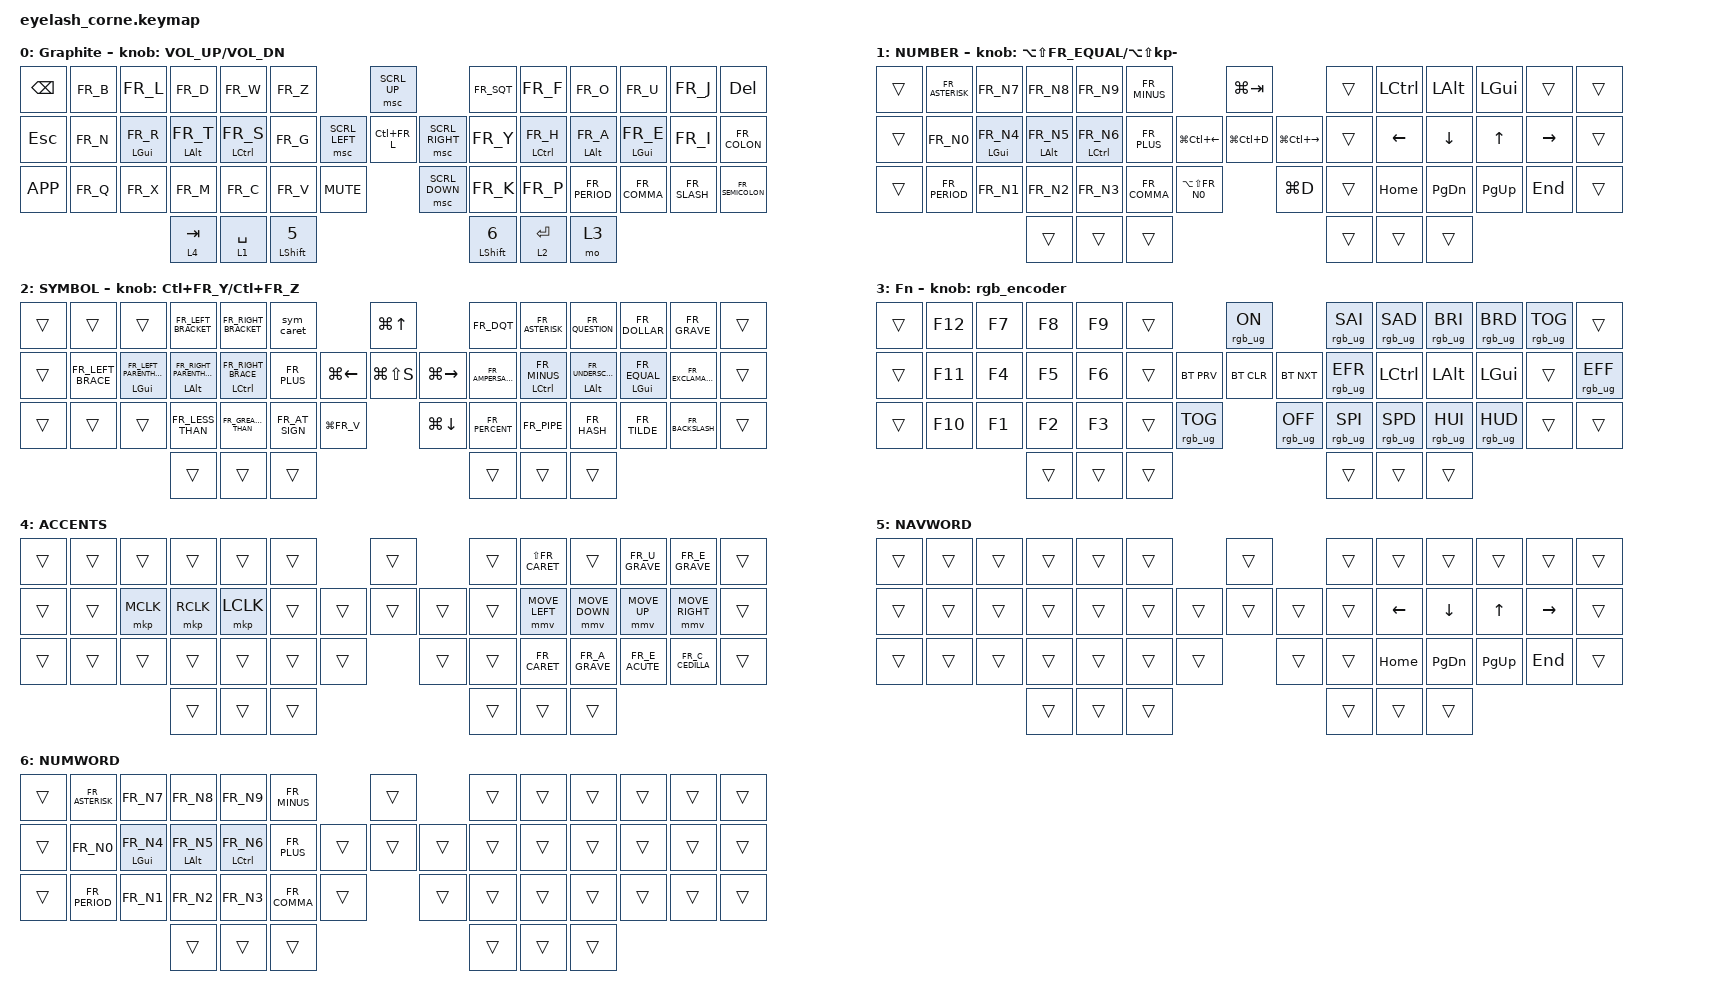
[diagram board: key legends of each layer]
#define ZMK_POINTING_DEFAULT_MOVE_VAL 1200  // 600
#define ZMK_POINTING_DEFAULT_SCRL_VAL 160   // force des touches de scroll du milieu (10 d'origine)

#include <input/processors.dtsi>
#include <zephyr/dt-bindings/input/input-event-codes.h>
#include <behaviors.dtsi>
#include <dt-bindings/zmk/bt.h>
#include <dt-bindings/zmk/keys.h>
#include <dt-bindings/zmk/pointing.h>
#include <dt-bindings/zmk/rgb.h>

#include <locale/keys_fr.h>

&msc {
    acceleration-exponent = <0>;      // 0 = vitesse constante, scroll franc dès le départ
    time-to-max-speed-ms = <40>;        // ignoré quand exponent = 0
    delay-ms = <0>;                   // 0
};

&mmv {
    time-to-max-speed-ms = <500>;
    acceleration-exponent = <1>;
    trigger-period-ms = <16>;
};


&lt {
    tapping-term-ms = <250>;
    flavor = "balanced";
};

/ {
    behaviors {
        // "Word layers" (module urob/zmk-auto-layer) : le layer reste actif
        // tant qu'on tape des touches de la continue-list, puis se coupe
        // tout seul. Un re-tap le coupe aussi manuellement.
        // num_word pointe sur le layer NUMWORD : pavé de chiffres complet
        // (avec * - + . ,) sur la main gauche, tout le reste transparent ->
        // une touche main droite tape son caractère de base ET coupe le word.
        num_word: num_word {
            compatible = "zmk,behavior-auto-layer";
            display-name = "Num Word";
            #binding-cells = <1>;
            continue-list = <FR_N0 FR_N1 FR_N2 FR_N3 FR_N4 FR_N5 FR_N6 FR_N7 FR_N8 FR_N9
                             FR_PERIOD FR_COMMA FR_PLUS FR_MINUS FR_ASTERISK
                             BACKSPACE DELETE>;
            ignore-modifiers;
        };

        // nav_word pointe sur le layer NAVWORD (quasi transparent) : toute
        // touche hors flèches/nav passe sur la couche de base ET coupe le
        // word en même temps -> pas de tap Shift pour sortir, ESC ou une
        // lettre suffit (important en mode normal IdeaVim où les flèches
        // sont bloquées).
        nav_word: nav_word {
            compatible = "zmk,behavior-auto-layer";
            display-name = "Nav Word";
            #binding-cells = <1>;
            continue-list = <LEFT DOWN UP RIGHT HOME END PG_UP PAGE_DOWN>;
            ignore-modifiers;
        };

        // Smart shifts : maintien = Shift, tap = word layer. Activation
        // croisée : pouce droit -> chiffres (main gauche), pouce gauche ->
        // flèches (main droite), pour activer d'une main et taper de l'autre.
        shift_num: shift_num {
            compatible = "zmk,behavior-hold-tap";
            display-name = "Shift / Num Word";
            #binding-cells = <2>;
            flavor = "balanced";
            tapping-term-ms = <250>;
            quick-tap-ms = <175>;
            bindings = <&kp>, <&num_word>;
        };

        shift_nav: shift_nav {
            compatible = "zmk,behavior-hold-tap";
            display-name = "Shift / Nav Word";
            #binding-cells = <2>;
            flavor = "balanced";
            tapping-term-ms = <250>;
            quick-tap-ms = <175>;
            bindings = <&kp>, <&nav_word>;
        };

        // Pouce Entrée -> SYMBOL en hold-preferred : toute touche pressée
        // pendant que le pouce est enfoncé passe sur SYMBOL, même si le pouce
        // est relâché en premier (roll rapide pour "?" au lieu de Entrée + o).
        lt_enter: lt_enter {
            compatible = "zmk,behavior-hold-tap";
            display-name = "Symbol / Enter";
            #binding-cells = <2>;
            flavor = "hold-preferred";
            tapping-term-ms = <250>;
            quick-tap-ms = <175>;
            bindings = <&mo>, <&kp>;
        };

        // Positional home-row mods: the modifier only fires when a key on the
        // OPPOSITE hand (or a thumb) is pressed, killing same-hand misfires.
        hml: home_row_mod_left {
            compatible = "zmk,behavior-hold-tap";
            display-name = "Home Row Mod Left";
            #binding-cells = <2>;
            flavor = "balanced";
            tapping-term-ms = <250>;
            quick-tap-ms = <175>;
            require-prior-idle-ms = <200>;
            bindings = <&kp>, <&kp>;
            hold-trigger-key-positions = <7 8 9 10 11 12 22 23 24 25 26 27 36 37 38 39 40 41 45 46 47>;
            hold-trigger-on-release;
        };

        // Variante de hml pour le Ctrl sur S (index gauche) : C et V sont
        // tapés par le même doigt, donc un chevauchement S+C/V est forcément
        // volontaire -> Ctrl+C / Ctrl+V sans attendre le tapping-term.
        hml_ctrl: home_row_mod_left_ctrl {
            compatible = "zmk,behavior-hold-tap";
            display-name = "Home Row Mod Left Ctrl";
            #binding-cells = <2>;
            flavor = "balanced";
            tapping-term-ms = <250>;
            quick-tap-ms = <175>;
            require-prior-idle-ms = <200>;
            bindings = <&kp>, <&kp>;
            hold-trigger-key-positions = <7 8 9 10 11 12 22 23 24 25 26 27 32 33 36 37 38 39 40 41 45 46 47>;
            hold-trigger-on-release;
        };

        hmr: home_row_mod_right {
            compatible = "zmk,behavior-hold-tap";
            display-name = "Home Row Mod Right";
            #binding-cells = <2>;
            flavor = "balanced";
            tapping-term-ms = <250>;
            quick-tap-ms = <175>;
            require-prior-idle-ms = <200>;
            bindings = <&kp>, <&kp>;
            hold-trigger-key-positions = <0 1 2 3 4 5 13 14 15 16 17 18 28 29 30 31 32 33 42 43 44>;
            hold-trigger-on-release;
        };
    };

    macros {
        // AZERTY dead key followed by space -> emit the literal symbol
        // (^) instead of waiting to combine with the next vowel.
        // ` and ~ (AltGr+7 / AltGr+2) are not dead keys on Linux AZERTY.
        sym_caret: sym_caret {
            compatible = "zmk,behavior-macro";
            #binding-cells = <0>;
            wait-ms = <0>;
            tap-ms = <5>;
            bindings = <&kp FR_CARET &kp SPACE>;
        };
    };

    rgb_encoder: rgb_encoder {
        compatible = "zmk,behavior-sensor-rotate";
        #sensor-binding-cells = <0>;
        bindings = <&rgb_ug RGB_BRI>, <&rgb_ug RGB_BRD>;
    };

    combos {
        compatible = "zmk,combos";

        softoff {
            bindings = <&soft_off>;
            key-positions = <0 12 44 45>;
        };

        // Les deux pouces Shift ensemble -> Caps Word : tape une suite de
        // MAJUSCULES / CONSTANTES_SNAKE sans tenir Shift. Se coupe au premier
        // espace ou touche non-alphanumérique. Idéal pour le code.
        caps_word_combo {
            bindings = <&caps_word>;
            key-positions = <44 45>;
            timeout-ms = <50>;
        };
    };

    keymap {
        compatible = "zmk,keymap";

        default_layer {
            display-name = "Graphite";
            bindings = <
&kp BACKSPACE  &kp FR_B  &kp FR_L           &kp FR_D           &kp FR_W        &kp FR_Z                                        &msc SCRL_UP                     &kp FR_SQT      &kp FR_F        &kp FR_O           &kp FR_U           &kp FR_J      &kp DEL
&kp ESC        &kp FR_N  &hml LEFT_GUI FR_R  &hml LEFT_ALT FR_T  &hml_ctrl LCTRL FR_S  &kp FR_G                     &msc SCRL_LEFT  &kp LC(FR_L)    &msc SCRL_RIGHT  &kp FR_Y        &hmr LCTRL FR_H  &hmr LEFT_ALT FR_A  &hmr LEFT_GUI FR_E  &kp FR_I  &kp FR_COLON
&kp K_APP      &kp FR_Q  &kp FR_X           &kp FR_M           &kp FR_C        &kp FR_V        &kp K_MUTE                   &msc SCRL_DOWN                   &kp FR_K        &kp FR_P        &kp FR_PERIOD      &kp FR_COMMA       &kp FR_SLASH  &kp FR_SEMICOLON
                                      &lt 4 TAB       &lt 1 SPACE  &shift_nav LEFT_SHIFT 5                                                                &shift_num LEFT_SHIFT 6           &lt_enter 2 ENTER  &mo 3
            >;

            sensor-bindings = <&inc_dec_kp C_VOLUME_UP C_VOL_DN>;
        };

        lower_layer {
            display-name = "NUMBER";
            bindings = <
&trans  &kp FR_ASTERISK  &kp FR_N7               &kp FR_N8        &kp FR_N9           &kp FR_MINUS                         &kp LG(TAB)                      &trans     &kp LCTRL  &kp LEFT_ALT   &kp LEFT_GUI  &trans   &trans
&trans  &kp FR_N0        &hml LEFT_GUI FR_N4     &hml LEFT_ALT FR_N5  &hml LCTRL FR_N6  &kp FR_PLUS          &kp LG(LC(LEFT))  &kp LG(LC(D))   &kp LG(LC(RIGHT))  &trans     &kp LEFT   &kp DOWN       &kp UP        &kp RIGHT  &trans
&trans  &kp FR_PERIOD    &kp FR_N1               &kp FR_N2        &kp FR_N3           &kp FR_COMMA  &kp LA(LS(FR_N0))          &kp LG(D)                        &trans     &kp HOME   &kp PAGE_DOWN  &kp PG_UP     &kp END  &trans
                                              &trans           &trans              &trans                                                                &trans     &trans     &trans
            >;

            sensor-bindings = <&inc_dec_kp LA(LS(FR_EQUAL)) LA(LS(KP_MINUS))>;
        };

        raise_layer {
            display-name = "SYMBOL";
            bindings = <
&trans  &trans             &trans                            &kp FR_LEFT_BRACKET                &kp FR_RIGHT_BRACKET      &sym_caret                         &kp LG(UP)      &kp FR_DQT        &kp FR_ASTERISK     &kp FR_QUESTION             &kp FR_DOLLAR           &kp FR_GRAVE        &trans
&trans  &kp FR_LEFT_BRACE  &hml LEFT_GUI FR_LEFT_PARENTHESIS  &hml LEFT_ALT FR_RIGHT_PARENTHESIS  &hml LCTRL FR_RIGHT_BRACE  &kp FR_PLUS                &kp LG(LEFT)  &kp LG(LS(S))  &kp LG(RIGHT)  &kp FR_AMPERSAND  &hmr LCTRL FR_MINUS  &hmr LEFT_ALT FR_UNDERSCORE  &hmr LEFT_GUI FR_EQUAL  &kp FR_EXCLAMATION  &trans
&trans  &trans             &trans                            &kp FR_LESS_THAN                   &kp FR_GREATER_THAN       &kp FR_AT_SIGN  &kp LG(FR_V)       &kp LG(DOWN)    &kp FR_PERCENT    &kp FR_PIPE         &kp FR_HASH                 &kp FR_TILDE            &kp FR_BACKSLASH    &trans
                                                       &trans                          &trans                 &trans                                             &trans         &trans           &trans
            >;

            sensor-bindings = <&inc_dec_kp LC(FR_Y) LC(FR_Z)>;
        };

        layer_3 {
            display-name = "Fn";
            bindings = <
&trans  &kp F12  &kp F7  &kp F8  &kp F9  &trans                            &rgb_ug RGB_ON               &rgb_ug RGB_SAI  &rgb_ug RGB_SAD  &rgb_ug RGB_BRI  &rgb_ug RGB_BRD  &rgb_ug RGB_TOG  &trans
&trans  &kp F11  &kp F4  &kp F5  &kp F6  &trans                &bt BT_PRV  &bt BT_CLR       &bt BT_NXT  &rgb_ug RGB_EFR  &kp LCTRL        &kp LEFT_ALT     &kp LEFT_GUI     &trans           &rgb_ug RGB_EFF
&trans  &kp F10  &kp F1  &kp F2  &kp F3  &trans  &rgb_ug RGB_TOG           &rgb_ug RGB_OFF              &rgb_ug RGB_SPI  &rgb_ug RGB_SPD  &rgb_ug RGB_HUI  &rgb_ug RGB_HUD  &trans           &trans
                         &trans  &trans  &trans                                                         &trans           &trans           &trans
            >;

            sensor-bindings = <&rgb_encoder>;
        };

        layer_4 {
            display-name = "ACCENTS";
            // Souris : déplacement du curseur sur le home row DROIT (H A E I =
            // mêmes touches que les flèches du layer NUMBER) ; clics milieu /
            // droit / gauche sur le home row GAUCHE (annulaire / majeur / index,
            // le clic gauche tombant sous l'index). Pas de scroll sur ce layer.
            // Accents : main droite, décalés d'une rangée en gardant leur
            // colonne (sous leur voyelle de base) : ^ à é ç en rangée basse,
            // ¨ ù è en rangée haute.
            bindings = <
&trans  &trans  &trans      &trans      &trans      &trans                            &trans  &trans  &kp LS(FR_CARET)  &trans          &kp FR_U_GRAVE  &kp FR_E_GRAVE    &trans
&trans  &trans  &mkp MCLK   &mkp RCLK   &mkp LCLK   &trans           &trans  &trans  &trans  &trans  &mmv MOVE_LEFT    &mmv MOVE_DOWN   &mmv MOVE_UP     &mmv MOVE_RIGHT   &trans
&trans  &trans  &trans      &trans      &trans      &trans           &trans          &trans  &trans  &kp FR_CARET      &kp FR_A_GRAVE  &kp FR_E_ACUTE  &kp FR_C_CEDILLA  &trans
                            &trans  &trans  &trans                                            &trans       &trans       &trans
            >;
        };

        layer_5 {
            display-name = "NAVWORD";
            // Layer dédié au nav_word : uniquement flèches + Home/PgDn/PgUp/End
            // sur la main droite (mêmes positions que le layer NUMBER), tout le
            // reste est transparent. Une touche hors nav tape son caractère de
            // base ET désactive le word -> sortie sans action supplémentaire.
            // Les home-row mods gauches restent dispo (Ctrl+flèches = saut de mot).
            bindings = <
&trans  &trans  &trans  &trans  &trans  &trans                          &trans                  &trans  &trans     &trans         &trans     &trans     &trans
&trans  &trans  &trans  &trans  &trans  &trans          &trans  &trans  &trans  &trans  &kp LEFT   &kp DOWN       &kp UP     &kp RIGHT  &trans
&trans  &trans  &trans  &trans  &trans  &trans  &trans          &trans          &trans  &kp HOME   &kp PAGE_DOWN  &kp PG_UP  &kp END    &trans
                        &trans  &trans  &trans                                          &trans  &trans  &trans
            >;
        };

        layer_6 {
            display-name = "NUMWORD";
            // Layer dédié au num_word : pavé de chiffres complet main gauche
            // (identique au layer NUMBER, opérateurs et home-row mods inclus),
            // tout le reste transparent. La main droite tape ses lettres de
            // base et coupe le word -> sortie sans action supplémentaire.
            bindings = <
&trans  &kp FR_ASTERISK  &kp FR_N7            &kp FR_N8            &kp FR_N9          &kp FR_MINUS                          &trans                  &trans  &trans  &trans  &trans  &trans  &trans
&trans  &kp FR_N0        &hml LEFT_GUI FR_N4  &hml LEFT_ALT FR_N5  &hml LCTRL FR_N6   &kp FR_PLUS           &trans  &trans  &trans  &trans  &trans  &trans  &trans  &trans  &trans
&trans  &kp FR_PERIOD    &kp FR_N1            &kp FR_N2            &kp FR_N3          &kp FR_COMMA  &trans          &trans          &trans  &trans  &trans  &trans  &trans  &trans
                                              &trans               &trans             &trans                                                &trans  &trans  &trans
            >;
        };
    };
};
